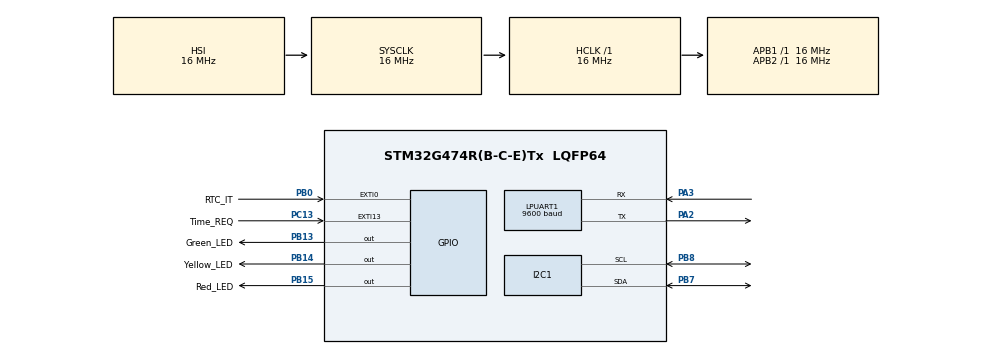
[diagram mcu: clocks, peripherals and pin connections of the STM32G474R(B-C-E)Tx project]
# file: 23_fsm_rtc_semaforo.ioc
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I2C1.Timing=0x00503D58
LPUART1.BaudRate=9600
Mcu.Family=STM32G4
Mcu.Name=STM32G474R(B-C-E)Tx
Mcu.Package=LQFP64
NVIC.EXTI0_IRQn=true\:0\:0\:false\:false\:true\:true\:true\:true
NVIC.EXTI15_10_IRQn=true\:0\:0\:false\:false\:true\:true\:true\:true
NVIC.I2C1_ER_IRQn=true\:0\:0\:false\:false\:true\:true\:true\:true
NVIC.I2C1_EV_IRQn=true\:0\:0\:false\:false\:true\:true\:true\:true
NVIC.LPUART1_IRQn=true\:0\:0\:false\:false\:true\:true\:true\:true
NVIC.PriorityGroup=NVIC_PRIORITYGROUP_4
NVIC.TIM6_DAC_IRQn=true\:0\:0\:false\:false\:true\:true\:true\:true
PA2.Mode=Asynchronous
PA2.Signal=LPUART1_TX
PA3.Mode=Asynchronous
PA3.Signal=LPUART1_RX
PB0.GPIO_Label=RTC_IT
PB0.GPIO_ModeDefaultEXTI=GPIO_MODE_IT_FALLING
PB0.GPIO_PuPd=GPIO_PULLUP
PB0.Signal=GPXTI0
PB13.GPIO_Label=Green_LED
PB13.Signal=GPIO_Output
PB14.GPIO_Label=Yellow_LED
PB14.Signal=GPIO_Output
PB15.GPIO_Label=Red_LED
PB15.Signal=GPIO_Output
PB7.GPIO_Pu=GPIO_PULLUP
PB7.Mode=I2C
PB7.Signal=I2C1_SDA
PB8-BOOT0.GPIO_Pu=GPIO_PULLUP
PB8-BOOT0.Mode=I2C
PB8-BOOT0.Signal=I2C1_SCL
PC13.GPIO_Label=Time_REQ
PC13.GPIO_ModeDefaultEXTI=GPIO_MODE_IT_RISING
PC13.GPIO_PuPd=GPIO_PULLDOWN
PC13.Signal=GPXTI13
ProjectManager.HeapSize=0x200
ProjectManager.StackSize=0x400
ProjectManager.TargetToolchain=STM32CubeIDE
RCC.AHBFreq_Value=16000000
RCC.APB1Freq_Value=16000000
RCC.APB1TimFreq_Value=16000000
RCC.APB2Freq_Value=16000000
RCC.APB2TimFreq_Value=16000000
RCC.CortexFreq_Value=16000000
RCC.EXTERNAL_CLOCK_VALUE=12288000
RCC.HCLKFreq_Value=16000000
RCC.HSE_VALUE=8000000
RCC.HSI48_VALUE=48000000
RCC.HSI_VALUE=16000000
RCC.LSE_VALUE=32768
RCC.SYSCLKFreq_VALUE=16000000
RCC.USBFreq_Value=64000000
RCC.VCOOutputFreq_Value=128000000
TIM6.PeriodNoDither=9999
TIM6.Prescaler=15999
VP_SYS_VS_DBSignals.Mode=DisableDeadBatterySignals
VP_TIM6_VS_ClockSourceINT.Mode=Enable_Timer
board=custom

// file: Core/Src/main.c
/* USER CODE BEGIN Header */
/**
  ******************************************************************************
  * @file           : main.c
  * @brief          : Main program body
  ******************************************************************************
  * @attention
  *
  * Copyright (c) 2026 STMicroelectronics.
  * All rights reserved.
  *
  * This software is licensed under terms that can be found in the LICENSE file
  * in the root directory of this software component.
  * If no LICENSE file comes with this software, it is provided AS-IS.
  *
  ******************************************************************************
  */
/* USER CODE END Header */
#include "main.h"
#include "i2c.h"
#include "usart.h"
#include "tim.h"
#include "gpio.h"

/* USER CODE BEGIN Includes */
#include "fsm_logic.h"
#include "ds3231_for_stm32_hal.h"
/* USER CODE END Includes */

/* USER CODE BEGIN PD */
#define TIM_IN_FREQUENCY  (16000000)
/* USER CODE END PD */

void SystemClock_Config(void);

int main(void)
{

  /* USER CODE BEGIN 1 */
  led_t red_led, yellow_led, green_led;
  button_t alarm_interrupt, timestamp_req;
  timer_t timer;
  /* USER CODE END 1 */

  /* MCU Configuration--------------------------------------------------------*/

  /* Reset of all peripherals, Initializes the Flash interface and the Systick. */
  HAL_Init();

  /* Configure the system clock */
  SystemClock_Config();

  /* Initialize all configured peripherals */
  MX_GPIO_Init();
  MX_I2C1_Init();
  MX_LPUART1_UART_Init();
  MX_TIM6_Init();
  /* USER CODE BEGIN 2 */

  DS3231_Init(&hi2c1);
  __disable_irq();
  DS3231_SetRateSelect(DS3231_1HZ);
  DS3231_SetFullTime(10, 44, 30);
  DS3231_SetFullDate(5, 6, 5, 2026);
  DS3231_SetInterruptMode(DS3231_ALARM_INTERRUPT);

  DS3231_EnableAlarm1(DS3231_ENABLED);
  DS3231_SetAlarm1Mode(DS3231_A1_MATCH_S_M_H_DAY);
  DS3231_SetAlarm1Second(0);
  DS3231_SetAlarm1Minute(45);
  DS3231_SetAlarm1Hour(10);
  DS3231_SetAlarm1Day(5);

  DS3231_EnableAlarm2(DS3231_ENABLED);
  DS3231_SetAlarm2Mode(DS3231_A2_MATCH_M_H_DAY);
  DS3231_SetAlarm2Minute(48);
  DS3231_SetAlarm2Hour(10);
  DS3231_SetAlarm2Day(5);
  DS3231_ClearAlarm1Flag();
  DS3231_ClearAlarm2Flag();
  __enable_irq();

  if(led_init(&red_led, GPIOB, Red_LED_Pin, LED_INIT_STATE_OFF) != LED_OK){
    return -1; //Fires an HardFault interrupt (if you need, manage with HardFault_Handler)
  }

  if(led_init(&yellow_led, GPIOB, Yellow_LED_Pin, LED_INIT_STATE_OFF) != LED_OK){
    return -1; //Fires an HardFault interrupt (if you need, manage with HardFault_Handler)
  }

  if(led_init(&green_led, GPIOB, Green_LED_Pin, LED_INIT_STATE_OFF) != LED_OK){
    return -1; //Fires an HardFault interrupt (if you need, manage with HardFault_Handler)
  }

  if(button_init(&alarm_interrupt, RTC_IT_GPIO_Port, RTC_IT_Pin, BUTTON_INIT_STATE_OFF)){
	return -1;
  }

  if(button_init(&timestamp_req, Time_REQ_GPIO_Port, Time_REQ_Pin, BUTTON_INIT_STATE_OFF)){
  	return -1;
  }

  if (timer_init(&timer, &htim6, TIM_IN_FREQUENCY) != TIMER_OK){
	  return -1;
  }

  if(FSM_init(&red_led, &yellow_led, &green_led, &alarm_interrupt, &timestamp_req, &timer) != FSM_OK){
    return -1;
  }

  /* USER CODE END 2 */

  /* Infinite loop */
  while (1)
  {

    /* USER CODE BEGIN 3 */
    if(FSM_step() != FSM_OK)
	  return -1;
  }
  /* USER CODE END 3 */
}

void SystemClock_Config(void)
{
  RCC_OscInitTypeDef RCC_OscInitStruct = {0};
  RCC_ClkInitTypeDef RCC_ClkInitStruct = {0};

  /** Configure the main internal regulator output voltage
  */
  HAL_PWREx_ControlVoltageScaling(PWR_REGULATOR_VOLTAGE_SCALE1);

  /** Initializes the RCC Oscillators according to the specified parameters
  * in the RCC_OscInitTypeDef structure.
  */
  RCC_OscInitStruct.OscillatorType = RCC_OSCILLATORTYPE_HSI;
  RCC_OscInitStruct.HSIState = RCC_HSI_ON;
  RCC_OscInitStruct.HSICalibrationValue = RCC_HSICALIBRATION_DEFAULT;
  RCC_OscInitStruct.PLL.PLLState = RCC_PLL_NONE;
  if (HAL_RCC_OscConfig(&RCC_OscInitStruct) != HAL_OK)
  {
    Error_Handler();
  }

  /** Initializes the CPU, AHB and APB buses clocks
  */
  RCC_ClkInitStruct.ClockType = RCC_CLOCKTYPE_HCLK|RCC_CLOCKTYPE_SYSCLK
                              |RCC_CLOCKTYPE_PCLK1|RCC_CLOCKTYPE_PCLK2;
  RCC_ClkInitStruct.SYSCLKSource = RCC_SYSCLKSOURCE_HSI;
  RCC_ClkInitStruct.AHBCLKDivider = RCC_SYSCLK_DIV1;
  RCC_ClkInitStruct.APB1CLKDivider = RCC_HCLK_DIV1;
  RCC_ClkInitStruct.APB2CLKDivider = RCC_HCLK_DIV1;

  if (HAL_RCC_ClockConfig(&RCC_ClkInitStruct, FLASH_LATENCY_0) != HAL_OK)
  {
    Error_Handler();
  }
}

void Error_Handler(void)
{
  __disable_irq();
  while (1)
  {
  }
}
